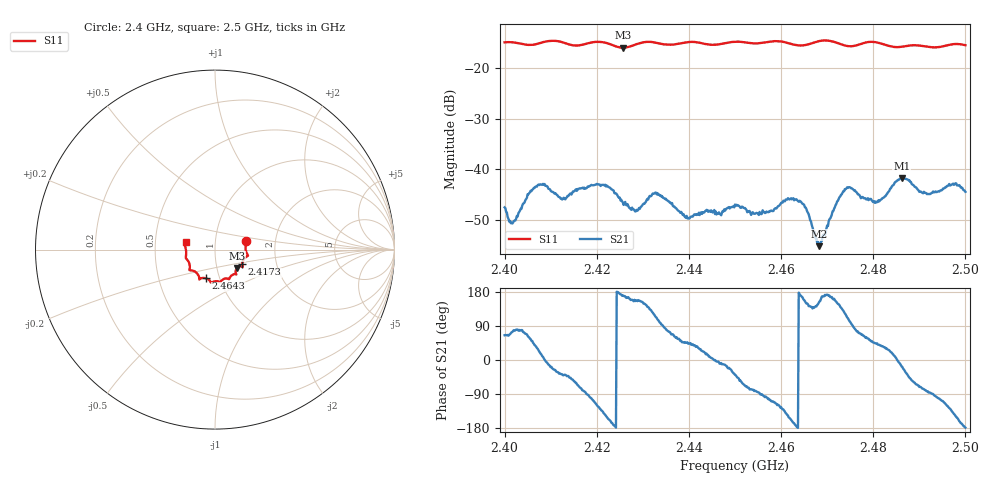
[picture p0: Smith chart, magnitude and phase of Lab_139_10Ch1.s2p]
# Hz S RI R 50
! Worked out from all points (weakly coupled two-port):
!   601 points, 2.4 GHz to 2.5 GHz, reference 50 ohm
!   highest |S21| = -41.76 dB at 2.4862 GHz (marker M1); lowest = -55.2 dB at 2.4683 GHz (marker M2)
!   lowest |S11| = -15.9 dB at 2.4257 GHz (marker M3), VSWR 1.38, Z = 62.4 - j13.1 ohm
!   |S11| at or under -10 dB: start of sweep to end of sweep
!   S12 and S22 are empty: the file has one direction only
!   S11 on the Smith chart (normalised r, x): 2.4 GHz: 1.41, +0.14; 2.4173 GHz: 1.34, -0.23; 2.4643 GHz: 0.86, -0.28; 2.5 GHz: 0.72, +0.06
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2.4e9  0.1736 0.0492  0.00175 0.00382  0 0  0 0
2.401833e9  0.1755 0.0419  0.000701 0.00288  0 0  0 0
2.407167e9  0.1743 -0.0127  0.00605 0.00344  0 0  0 0
2.412667e9  0.1761 -0.0391  0.00392 -0.00331  0 0  0 0
2.416667e9  0.1526 -0.0749  0.00164 -0.00631  0 0  0 0
2.417333e9  0.152 -0.0824  0.000792 -0.00652  0 0  0 0
2.421833e9  0.1521 -0.0948  -0.00575 -0.00405  0 0  0 0
2.425667e9  0.1224 -0.1024  -0.00462 0.000783  0 0  0 0
2.4285e9  0.1153 -0.1281  -0.00356 0.00144  0 0  0 0
2.433333e9  0.1125 -0.1366  -0.00149 0.00539  0 0  0 0
2.439667e9  0.0801 -0.1622  0.00225 0.00238  0 0  0 0
2.45e9  0.0294 -0.1807  0.00347 -0.00284  0 0  0 0
2.455333e9  -0.00119 -0.1768  0.000186 -0.00378  0 0  0 0
2.464333e9  -0.0501 -0.1603  -0.00467 0.000888  0 0  0 0
2.466667e9  -0.0761 -0.1595  -0.00215 0.00181  0 0  0 0
2.468333e9  -0.0859 -0.165  -0.00157 0.000747  0 0  0 0
2.474e9  -0.0976 -0.1359  -0.00323 0.00548  0 0  0 0
2.4805e9  -0.1426 -0.1118  0.00346 0.00333  0 0  0 0
2.483333e9  -0.1404 -0.0898  0.00538 0.0027  0 0  0 0
2.486167e9  -0.1508 -0.0618  0.0078 -0.0024  0 0  0 0
2.491833e9  -0.1609 -0.027  0.000727 -0.00566  0 0  0 0
2.5e9  -0.1638 0.0418  -0.00599 -0.000164  0 0  0 0
